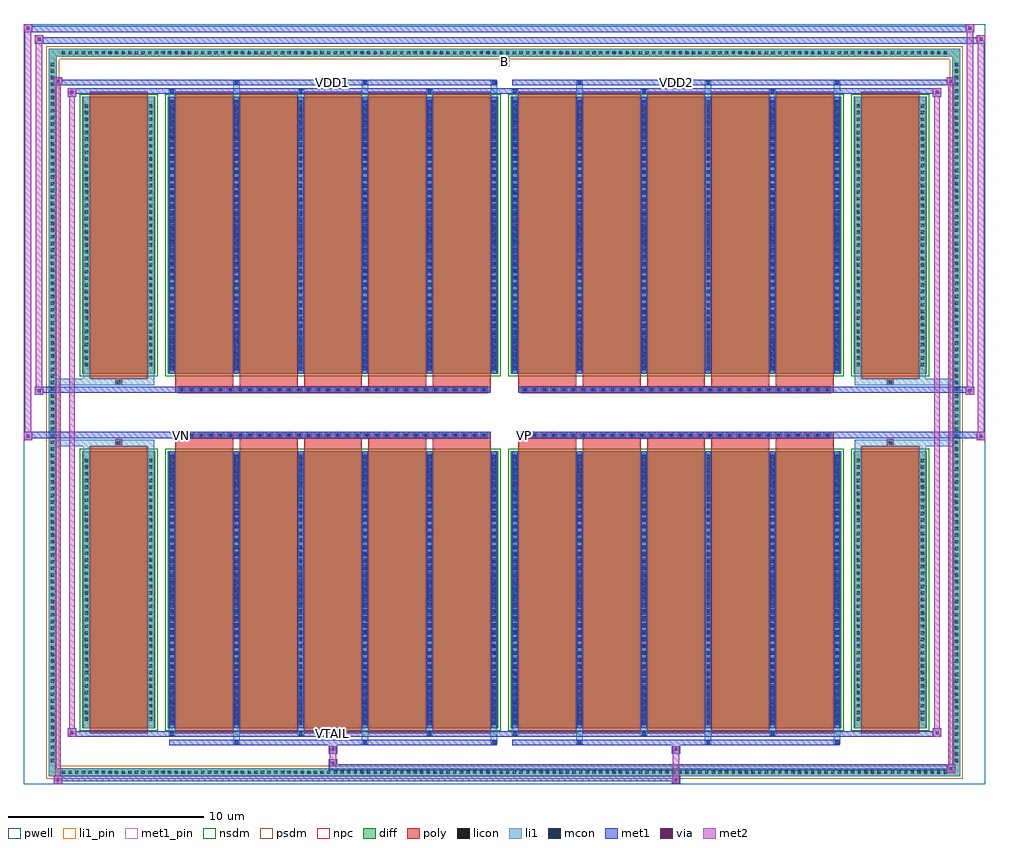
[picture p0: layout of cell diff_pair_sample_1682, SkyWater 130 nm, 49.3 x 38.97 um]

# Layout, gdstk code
import gdstk
lib = gdstk.Library(unit=1e-6, precision=5e-09)
def R(c, l, rs):  # rectangles x0, y0, x1, y1
    for r in rs: c.add(gdstk.rectangle(r[:2], r[2:], *l))
def A(c, l, x, y, w, h, nx, ny, dx, dy):  # array of equal rectangles
    R(c, l, [(x+i*dx, y+j*dy, x+i*dx+w, y+j*dy+h) for i in range(nx) for j in range(ny)])
def P(c, l, *ps):  # polygons
    for p in ps: c.add(gdstk.Polygon(p, *l))
pwell = (64, 44)
diff = (65, 20)
poly = (66, 20)
licon = (66, 44)
li1_pin = (67, 16)
li1 = (67, 20)
mcon = (67, 44)
met1_pin = (68, 16)
met1 = (68, 20)
via = (68, 44)
met2 = (69, 20)
nsdm = (93, 44)
psdm = (94, 20)
npc = (95, 20)

diff_pair_sample_1682 = lib.new_cell('diff_pair_sample_1682')
R(diff_pair_sample_1682, pwell, [(-24.65,-19.05,24.65,19.92), (-21.97,-17.24,-0.01,-0.8), (0.01,-17.24,21.97,-0.8), (-21.97,0.8,-0.01,17.24), (0.01,0.8,21.97,17.24)])
A(diff_pair_sample_1682, diff, -22.815, -18.65, 0.41, 0.41, 134, 2, 0.34, 36.89)
A(diff_pair_sample_1682, diff, -23.38, -18.055, 0.41, 0.41, 1, 106, 0, 0.34)
A(diff_pair_sample_1682, diff, 22.97, -18.055, 0.41, 0.41, 1, 106, 0, 0.34)
R(diff_pair_sample_1682, diff, [(-22.815,-18.65,22.815,-18.24), (-23.38,-18.055,-22.97,18.055), (22.97,-18.055,23.38,18.055), (-21.66,-16.195,-17.91,-1.985), (-17.27,-16.195,-0.32,-1.985), (0.32,-16.195,17.27,-1.985), (17.91,-16.195,21.66,-1.985), (-21.66,1.985,-17.91,16.195), (-17.27,1.985,-0.32,16.195), (0.32,1.985,17.27,16.195), (17.91,1.985,21.66,16.195), (-22.815,18.24,22.815,18.65)])
P(diff_pair_sample_1682, diff, [(23.38,18.65),(-23.38,18.65),(-23.38,-18.24),(-22.97,-18.24),(-22.97,18.24),(22.97,18.24),(22.97,-18.24),(-22.97,-18.24),(-23.38,-18.24),(-23.38,-18.65),(23.38,-18.65)])
A(diff_pair_sample_1682, poly, -16.88, -16.445, 2.97, 14.71, 5, 2, 3.3, 18.18)
A(diff_pair_sample_1682, poly, 0.71, -16.445, 2.97, 14.71, 5, 2, 3.3, 18.18)
A(diff_pair_sample_1682, poly, -16.88, -1.735, 2.97, 0.405, 5, 2, 3.3, 3.065)
A(diff_pair_sample_1682, poly, 0.71, -1.735, 2.97, 0.405, 5, 2, 3.3, 3.065)
A(diff_pair_sample_1682, poly, -16.71, -1.33, 0.33, 0.33, 32, 2, 0.5, 2.33)
A(diff_pair_sample_1682, poly, 0.88, -1.33, 0.33, 0.33, 32, 2, 0.5, 2.33)
R(diff_pair_sample_1682, poly, [(-21.27,-16.445,-18.3,-1.735), (18.3,-16.445,21.27,-1.735), (-19.95,-1.735,-19.62,-1.405), (-19.95,-1.735,-19.62,-1.405), (19.62,-1.735,19.95,-1.405), (19.62,-1.735,19.95,-1.405), (-16.88,-1.33,-0.71,-1), (0.71,-1.33,16.88,-1), (-16.88,1,-0.71,1.33), (0.71,1,16.88,1.33), (-19.95,1.405,-19.62,1.735), (-19.95,1.405,-19.62,1.735), (19.62,1.405,19.95,1.735), (19.62,1.405,19.95,1.735), (-21.27,1.735,-18.3,16.445), (18.3,1.735,21.27,16.445)])
A(diff_pair_sample_1682, licon, -22.695, -18.53, 0.17, 0.17, 134, 2, 0.34, 36.89)
A(diff_pair_sample_1682, licon, -23.26, -17.935, 0.17, 0.17, 1, 106, 0, 0.34)
A(diff_pair_sample_1682, licon, 23.09, -17.935, 0.17, 0.17, 1, 106, 0, 0.34)
A(diff_pair_sample_1682, licon, -21.52, -15.805, 0.17, 0.17, 1, 40, 0, 0.34)
A(diff_pair_sample_1682, licon, -18.22, -15.805, 0.17, 0.17, 1, 40, 0, 0.34)
A(diff_pair_sample_1682, licon, -17.13, -15.805, 0.17, 0.17, 6, 40, 3.3, 0.34)
A(diff_pair_sample_1682, licon, 0.46, -15.805, 0.17, 0.17, 6, 40, 3.3, 0.34)
A(diff_pair_sample_1682, licon, 18.05, -15.805, 0.17, 0.17, 1, 40, 0, 0.34)
A(diff_pair_sample_1682, licon, 21.35, -15.805, 0.17, 0.17, 1, 40, 0, 0.34)
A(diff_pair_sample_1682, licon, -16.63, -1.25, 0.17, 0.17, 32, 2, 0.5, 2.33)
A(diff_pair_sample_1682, licon, 0.96, -1.25, 0.17, 0.17, 32, 2, 0.5, 2.33)
A(diff_pair_sample_1682, licon, -21.52, 2.375, 0.17, 0.17, 1, 40, 0, 0.34)
A(diff_pair_sample_1682, licon, -18.22, 2.375, 0.17, 0.17, 1, 40, 0, 0.34)
A(diff_pair_sample_1682, licon, -17.13, 2.375, 0.17, 0.17, 6, 40, 3.3, 0.34)
A(diff_pair_sample_1682, licon, 0.46, 2.375, 0.17, 0.17, 6, 40, 3.3, 0.34)
A(diff_pair_sample_1682, licon, 18.05, 2.375, 0.17, 0.17, 1, 40, 0, 0.34)
A(diff_pair_sample_1682, licon, 21.35, 2.375, 0.17, 0.17, 1, 40, 0, 0.34)
R(diff_pair_sample_1682, licon, [(-19.87,-1.655,-19.7,-1.485), (19.7,-1.655,19.87,-1.485), (-19.87,1.485,-19.7,1.655), (19.7,1.485,19.87,1.655)])
R(diff_pair_sample_1682, li1_pin, [(-0.25,17.74,0.25,18.24)])
A(diff_pair_sample_1682, li1, -22.775, -18.61, 0.33, 0.33, 134, 2, 0.34, 36.89)
A(diff_pair_sample_1682, li1, -23.34, -18.015, 0.33, 0.33, 1, 106, 0, 0.34)
A(diff_pair_sample_1682, li1, 23.01, -18.015, 0.33, 0.33, 1, 106, 0, 0.34)
A(diff_pair_sample_1682, li1, -13.91, -17, 0.33, 0.805, 3, 2, 6.6, 33.195)
A(diff_pair_sample_1682, li1, -13.83, -17, 0.17, 0.17, 3, 2, 6.6, 33.83)
A(diff_pair_sample_1682, li1, 3.68, -17, 0.33, 0.805, 3, 2, 6.6, 33.195)
A(diff_pair_sample_1682, li1, 3.76, -17, 0.17, 0.17, 3, 2, 6.6, 33.83)
A(diff_pair_sample_1682, li1, -17.21, -16.57, 0.33, 0.375, 3, 2, 6.6, 32.765)
A(diff_pair_sample_1682, li1, -17.13, -16.57, 0.17, 0.17, 3, 2, 6.6, 32.97)
A(diff_pair_sample_1682, li1, 0.38, -16.57, 0.33, 0.375, 3, 2, 6.6, 32.765)
A(diff_pair_sample_1682, li1, 0.46, -16.57, 0.17, 0.17, 3, 2, 6.6, 32.97)
A(diff_pair_sample_1682, li1, -17.21, -16.195, 0.33, 14.21, 6, 2, 3.3, 18.18)
A(diff_pair_sample_1682, li1, 0.38, -16.195, 0.33, 14.21, 6, 2, 3.3, 18.18)
A(diff_pair_sample_1682, li1, -17.13, -16.015, 0.17, 0.17, 6, 39, 3.3, 0.36)
A(diff_pair_sample_1682, li1, -17.13, -16.015, 0.17, 13.85, 6, 2, 3.3, 18.18)
A(diff_pair_sample_1682, li1, 0.46, -16.015, 0.17, 0.17, 6, 39, 3.3, 0.36)
A(diff_pair_sample_1682, li1, 0.46, -16.015, 0.17, 13.85, 6, 2, 3.3, 18.18)
A(diff_pair_sample_1682, li1, -21.6, -15.885, 0.33, 0.33, 1, 40, 0, 0.34)
A(diff_pair_sample_1682, li1, -18.3, -15.885, 0.33, 0.33, 1, 40, 0, 0.34)
A(diff_pair_sample_1682, li1, -17.21, -15.885, 0.33, 0.33, 6, 40, 3.3, 0.34)
A(diff_pair_sample_1682, li1, 0.38, -15.885, 0.33, 0.33, 6, 40, 3.3, 0.34)
A(diff_pair_sample_1682, li1, 17.97, -15.885, 0.33, 0.33, 1, 40, 0, 0.34)
A(diff_pair_sample_1682, li1, 21.27, -15.885, 0.33, 0.33, 1, 40, 0, 0.34)
A(diff_pair_sample_1682, li1, -16.71, -1.33, 0.33, 0.33, 32, 2, 0.5, 2.33)
A(diff_pair_sample_1682, li1, 0.88, -1.33, 0.33, 0.33, 32, 2, 0.5, 2.33)
A(diff_pair_sample_1682, li1, -17.13, 2.165, 0.17, 0.17, 6, 39, 3.3, 0.36)
A(diff_pair_sample_1682, li1, 0.46, 2.165, 0.17, 0.17, 6, 39, 3.3, 0.36)
A(diff_pair_sample_1682, li1, -21.6, 2.295, 0.33, 0.33, 1, 40, 0, 0.34)
A(diff_pair_sample_1682, li1, -18.3, 2.295, 0.33, 0.33, 1, 40, 0, 0.34)
A(diff_pair_sample_1682, li1, -17.21, 2.295, 0.33, 0.33, 6, 40, 3.3, 0.34)
A(diff_pair_sample_1682, li1, 0.38, 2.295, 0.33, 0.33, 6, 40, 3.3, 0.34)
A(diff_pair_sample_1682, li1, 17.97, 2.295, 0.33, 0.33, 1, 40, 0, 0.34)
A(diff_pair_sample_1682, li1, 21.27, 2.295, 0.33, 0.33, 1, 40, 0, 0.34)
R(diff_pair_sample_1682, li1, [(-23.38,-18.65,-22.97,-18.24), (-23.38,-18.65,-22.97,-18.24), (-22.97,-18.65,22.97,-18.24), (22.97,-18.65,23.38,-18.24), (22.97,-18.65,23.38,-18.24), (-23.38,-18.24,-22.97,18.24), (22.97,-18.24,23.38,18.24), (-21.6,-16.195,-21.27,-1.985), (-18.3,-16.195,-17.97,-1.985), (17.97,-16.195,18.3,-1.985), (21.27,-16.195,21.6,-1.985), (-21.6,-1.985,-21.27,-1.405), (-18.3,-1.985,-17.97,-1.405), (17.97,-1.985,18.3,-1.405), (21.27,-1.985,21.6,-1.405), (-23.38,-1.735,-19.95,-1.405), (-21.6,-1.735,-19.95,-1.405), (-19.95,-1.735,-19.62,-1.405), (-19.62,-1.735,-17.97,-1.405), (17.97,-1.735,19.62,-1.405), (19.62,-1.735,19.95,-1.405), (19.62,-1.735,23.38,-1.405), (19.95,-1.735,21.6,-1.405), (-23.38,1.405,-19.95,1.735), (-21.6,1.405,-19.95,1.735), (-21.6,1.405,-21.27,1.985), (-19.95,1.405,-19.62,1.735), (-19.62,1.405,-17.97,1.735), (-18.3,1.405,-17.97,1.985), (17.97,1.405,19.62,1.735), (17.97,1.405,18.3,1.985), (19.62,1.405,19.95,1.735), (19.62,1.405,23.38,1.735), (19.95,1.405,21.6,1.735), (21.27,1.405,21.6,1.985), (-21.6,1.985,-21.27,16.195), (-18.3,1.985,-17.97,16.195), (17.97,1.985,18.3,16.195), (21.27,1.985,21.6,16.195), (-23.38,18.24,-22.97,18.65), (-23.38,18.24,-22.97,18.65), (-22.97,18.24,22.97,18.65), (22.97,18.24,23.38,18.65), (22.97,18.24,23.38,18.65)])
A(diff_pair_sample_1682, mcon, -13.83, -17, 0.17, 0.17, 3, 2, 6.6, 33.83)
A(diff_pair_sample_1682, mcon, 3.76, -17, 0.17, 0.17, 3, 2, 6.6, 33.83)
A(diff_pair_sample_1682, mcon, -17.13, -16.57, 0.17, 0.17, 3, 2, 6.6, 32.97)
A(diff_pair_sample_1682, mcon, 0.46, -16.57, 0.17, 0.17, 3, 2, 6.6, 32.97)
A(diff_pair_sample_1682, mcon, -17.13, -16.015, 0.17, 0.17, 6, 39, 3.3, 0.36)
A(diff_pair_sample_1682, mcon, 0.46, -16.015, 0.17, 0.17, 6, 39, 3.3, 0.36)
A(diff_pair_sample_1682, mcon, -16.63, -1.25, 0.17, 0.17, 32, 2, 0.5, 2.33)
A(diff_pair_sample_1682, mcon, 0.96, -1.25, 0.17, 0.17, 32, 2, 0.5, 2.33)
A(diff_pair_sample_1682, mcon, -17.13, 2.165, 0.17, 0.17, 6, 39, 3.3, 0.36)
A(diff_pair_sample_1682, mcon, 0.46, 2.165, 0.17, 0.17, 6, 39, 3.3, 0.36)
R(diff_pair_sample_1682, met1_pin, [(-8.93,-16.61,-8.66,-16.34), (-16.68,-1.29,-16.41,-1.02), (0.91,-1.29,1.18,-1.02), (-8.93,16.79,-8.66,17.06), (8.66,16.79,8.93,17.06)])
A(diff_pair_sample_1682, met1, -13.89, -17.06, 0.29, 0.29, 3, 2, 6.6, 33.83)
A(diff_pair_sample_1682, met1, 3.7, -17.06, 0.29, 0.29, 3, 2, 6.6, 33.83)
A(diff_pair_sample_1682, met1, -17.19, -16.63, 0.29, 0.29, 3, 2, 6.6, 32.97)
A(diff_pair_sample_1682, met1, 0.4, -16.63, 0.29, 0.29, 3, 2, 6.6, 32.97)
A(diff_pair_sample_1682, met1, -17.19, -16.195, 0.29, 14.21, 6, 2, 3.3, 18.18)
A(diff_pair_sample_1682, met1, 0.4, -16.195, 0.29, 14.21, 6, 2, 3.3, 18.18)
A(diff_pair_sample_1682, met1, -17.19, -16.075, 0.29, 0.29, 6, 39, 3.3, 0.36)
A(diff_pair_sample_1682, met1, 0.4, -16.075, 0.29, 0.29, 6, 39, 3.3, 0.36)
A(diff_pair_sample_1682, met1, -16.69, -1.31, 0.29, 0.29, 32, 2, 0.5, 2.33)
A(diff_pair_sample_1682, met1, 0.9, -1.31, 0.29, 0.29, 32, 2, 0.5, 2.33)
A(diff_pair_sample_1682, met1, -17.19, 2.105, 0.29, 0.29, 6, 39, 3.3, 0.36)
A(diff_pair_sample_1682, met1, 0.4, 2.105, 0.29, 0.29, 6, 39, 3.3, 0.36)
R(diff_pair_sample_1682, met1, [(-23.11,-19.05,-22.68,-18.62), (8.58,-19.05,9.01,-18.62), (-23.11,-18.91,9.01,-18.62), (22.68,-18.48,23.11,-18.05), (-9.01,-18.34,23.11,-18.05), (-9.01,-18.2,-8.58,-17.77), (-9.01,-17.49,-8.58,-17.06), (8.58,-17.49,9.01,-17.06), (-17.19,-17.06,-0.4,-16.77), (0.4,-17.06,17.19,-16.77), (-22.4,-16.63,-21.97,-16.2), (-22.4,-16.63,-17.19,-16.34), (-17.19,-16.63,-0.4,-16.34), (-0.4,-16.63,0.4,-16.34), (0.4,-16.63,17.19,-16.34), (17.19,-16.63,22.4,-16.34), (21.97,-16.63,22.4,-16.2), (-24.65,-1.43,-24.22,-1), (24.22,-1.43,24.65,-1), (-24.65,-1.33,-0.71,-1), (-16.88,-1.33,-0.71,-1), (0.71,-1.33,16.88,-1), (0.71,-1.33,24.65,-1), (-24.08,0.9,-23.65,1.33), (23.65,0.9,24.08,1.33), (-24.08,1,-16.88,1.33), (-16.88,1,-0.71,1.33), (0.71,1,16.88,1.33), (16.88,1,24.08,1.33), (-22.4,16.2,-21.97,16.63), (21.97,16.2,22.4,16.63), (-22.4,16.34,-17.19,16.63), (-17.19,16.34,-0.4,16.63), (-0.4,16.34,0.4,16.63), (0.4,16.34,17.19,16.63), (17.19,16.34,22.4,16.63), (-23.11,16.77,-22.68,17.2), (-23.11,16.77,-17.19,17.06), (-17.19,16.77,-0.4,17.06), (0.4,16.77,17.19,17.06), (17.19,16.77,23.11,17.06), (22.68,16.77,23.11,17.2), (-24.08,18.92,-23.65,19.35), (-24.08,18.92,-21.97,19.25), (-21.97,18.92,21.97,19.25), (21.97,18.92,24.65,19.25), (24.22,18.92,24.65,19.35), (-24.65,19.49,-24.22,19.92), (-24.65,19.49,-21.97,19.82), (-21.97,19.49,21.97,19.82), (21.97,19.49,24.08,19.82), (23.65,19.49,24.08,19.92)])
R(diff_pair_sample_1682, via, [(-22.97,-18.91,-22.82,-18.76), (8.72,-18.91,8.87,-18.76), (22.82,-18.34,22.97,-18.19), (-8.87,-18.06,-8.72,-17.91), (-8.87,-17.35,-8.72,-17.2), (8.72,-17.35,8.87,-17.2), (-22.26,-16.49,-22.11,-16.34), (22.11,-16.49,22.26,-16.34), (-24.51,-1.29,-24.36,-1.14), (24.36,-1.29,24.51,-1.14), (-23.94,1.04,-23.79,1.19), (23.79,1.04,23.94,1.19), (-22.26,16.34,-22.11,16.49), (22.11,16.34,22.26,16.49), (-22.97,16.91,-22.82,17.06), (22.82,16.91,22.97,17.06), (-23.94,19.06,-23.79,19.21), (24.36,19.06,24.51,19.21), (-24.51,19.63,-24.36,19.78), (23.79,19.63,23.94,19.78)])
R(diff_pair_sample_1682, met2, [(-23.11,-19.05,-22.68,-18.62), (-23.04,-19.05,-22.75,17.2), (-22.75,-19.05,-22.68,-18.62), (-23.06,-19,-22.73,-18.67), (8.63,-19,8.96,-18.67), (8.63,-18.67,8.96,-17.44), (22.68,-18.48,23.11,-18.05), (22.75,-18.48,23.04,17.2), (23.04,-18.48,23.11,-18.05), (22.73,-18.43,23.06,-18.1), (-8.96,-18.15,-8.63,-17.82), (-8.96,-17.82,-8.63,-17.44), (-8.96,-17.44,-8.63,-17.11), (8.63,-17.44,8.96,-17.11), (-22.4,-16.63,-21.97,-16.2), (-22.33,-16.63,-22.04,16.63), (-22.04,-16.63,-21.97,-16.2), (21.97,-16.63,22.4,-16.2), (22.04,-16.63,22.33,16.63), (22.33,-16.63,22.4,-16.2), (-22.35,-16.58,-22.02,-16.25), (22.02,-16.58,22.35,-16.25), (-24.65,-1.43,-24.22,-1), (-24.6,-1.43,-24.27,19.92), (-24.27,-1.43,-24.22,-1), (24.22,-1.43,24.65,-1), (24.27,-1.43,24.6,19.35), (24.6,-1.43,24.65,-1), (-24.6,-1.38,-24.27,-1.05), (24.27,-1.38,24.6,-1.05), (-24.08,0.9,-23.65,1.33), (-24.03,0.9,-23.7,19.35), (-23.7,0.9,-23.65,1.33), (23.65,0.9,24.08,1.33), (23.7,0.9,24.03,19.92), (24.03,0.9,24.08,1.33), (-24.03,0.95,-23.7,1.28), (23.7,0.95,24.03,1.28), (-22.4,16.2,-21.97,16.63), (-22.04,16.2,-21.97,16.63), (21.97,16.2,22.4,16.63), (22.33,16.2,22.4,16.63), (-22.35,16.25,-22.02,16.58), (22.02,16.25,22.35,16.58), (-23.11,16.77,-22.68,17.2), (-22.75,16.77,-22.68,17.2), (22.68,16.77,23.11,17.2), (23.04,16.77,23.11,17.2), (-23.06,16.82,-22.73,17.15), (22.73,16.82,23.06,17.15), (-24.08,18.92,-23.65,19.35), (-23.7,18.92,-23.65,19.35), (24.22,18.92,24.65,19.35), (24.6,18.92,24.65,19.35), (-24.03,18.97,-23.7,19.3), (24.27,18.97,24.6,19.3), (-24.65,19.49,-24.22,19.92), (-24.27,19.49,-24.22,19.92), (23.65,19.49,24.08,19.92), (24.03,19.49,24.08,19.92), (-24.6,19.54,-24.27,19.87), (23.7,19.54,24.03,19.87)])
R(diff_pair_sample_1682, nsdm, [(-21.79,-16.325,-17.78,-1.855), (-17.4,-16.325,-0.19,-1.855), (0.19,-16.325,17.4,-1.855), (17.78,-16.325,21.79,-1.855), (-21.79,1.855,-17.78,16.325), (-17.4,1.855,-0.19,16.325), (0.19,1.855,17.4,16.325), (17.78,1.855,21.79,16.325)])
P(diff_pair_sample_1682, psdm, [(23.51,18.78),(-23.51,18.78),(-23.51,-18.11),(-22.84,-18.11),(-22.84,18.11),(22.84,18.11),(22.84,-18.11),(-22.84,-18.11),(-23.51,-18.11),(-23.51,-18.78),(23.51,-18.78)])
A(diff_pair_sample_1682, npc, -16.73, -1.35, 0.37, 0.37, 32, 2, 0.5, 2.33)
A(diff_pair_sample_1682, npc, 0.86, -1.35, 0.37, 0.37, 32, 2, 0.5, 2.33)
R(diff_pair_sample_1682, npc, [(-19.97,-1.755,-19.6,-1.385), (19.6,-1.755,19.97,-1.385), (-16.73,-1.35,-15.86,-0.98), (-16.73,-1.35,-15.86,-0.98), (-16.23,-1.35,-15.36,-0.98), (-16.23,-1.35,-15.36,-0.98), (-15.73,-1.35,-14.86,-0.98), (-15.73,-1.35,-14.86,-0.98), (-15.23,-1.35,-14.36,-0.98), (-15.23,-1.35,-14.36,-0.98), (-14.73,-1.35,-13.86,-0.98), (-14.73,-1.35,-13.86,-0.98), (-14.23,-1.35,-13.36,-0.98), (-14.23,-1.35,-13.36,-0.98), (-13.73,-1.35,-12.86,-0.98), (-13.73,-1.35,-12.86,-0.98), (-13.23,-1.35,-12.36,-0.98), (-13.23,-1.35,-12.36,-0.98), (-12.73,-1.35,-11.86,-0.98), (-12.73,-1.35,-11.86,-0.98), (-12.23,-1.35,-11.36,-0.98), (-12.23,-1.35,-11.36,-0.98), (-11.73,-1.35,-10.86,-0.98), (-11.73,-1.35,-10.86,-0.98), (-11.23,-1.35,-10.36,-0.98), (-11.23,-1.35,-10.36,-0.98), (-10.73,-1.35,-9.86,-0.98), (-10.73,-1.35,-9.86,-0.98), (-10.23,-1.35,-9.36,-0.98), (-10.23,-1.35,-9.36,-0.98), (-9.73,-1.35,-8.86,-0.98), (-9.73,-1.35,-8.86,-0.98), (-9.23,-1.35,-8.36,-0.98), (-9.23,-1.35,-8.36,-0.98), (-8.73,-1.35,-7.86,-0.98), (-8.73,-1.35,-7.86,-0.98), (-8.23,-1.35,-7.36,-0.98), (-8.23,-1.35,-7.36,-0.98), (-7.73,-1.35,-6.86,-0.98), (-7.73,-1.35,-6.86,-0.98), (-7.23,-1.35,-6.36,-0.98), (-7.23,-1.35,-6.36,-0.98), (-6.73,-1.35,-5.86,-0.98), (-6.73,-1.35,-5.86,-0.98), (-6.23,-1.35,-5.36,-0.98), (-6.23,-1.35,-5.36,-0.98), (-5.73,-1.35,-4.86,-0.98), (-5.73,-1.35,-4.86,-0.98), (-5.23,-1.35,-4.36,-0.98), (-5.23,-1.35,-4.36,-0.98), (-4.73,-1.35,-3.86,-0.98), (-4.73,-1.35,-3.86,-0.98), (-4.23,-1.35,-3.36,-0.98), (-4.23,-1.35,-3.36,-0.98), (-3.73,-1.35,-2.86,-0.98), (-3.73,-1.35,-2.86,-0.98), (-3.23,-1.35,-2.36,-0.98), (-3.23,-1.35,-2.36,-0.98), (-2.73,-1.35,-1.86,-0.98), (-2.73,-1.35,-1.86,-0.98), (-2.23,-1.35,-1.36,-0.98), (-2.23,-1.35,-1.36,-0.98), (-1.73,-1.35,-0.86,-0.98), (-1.73,-1.35,-0.86,-0.98), (0.86,-1.35,1.73,-0.98), (0.86,-1.35,1.73,-0.98), (1.36,-1.35,2.23,-0.98), (1.36,-1.35,2.23,-0.98), (1.86,-1.35,2.73,-0.98), (1.86,-1.35,2.73,-0.98), (2.36,-1.35,3.23,-0.98), (2.36,-1.35,3.23,-0.98), (2.86,-1.35,3.73,-0.98), (2.86,-1.35,3.73,-0.98), (3.36,-1.35,4.23,-0.98), (3.36,-1.35,4.23,-0.98), (3.86,-1.35,4.73,-0.98), (3.86,-1.35,4.73,-0.98), (4.36,-1.35,5.23,-0.98), (4.36,-1.35,5.23,-0.98), (4.86,-1.35,5.73,-0.98), (4.86,-1.35,5.73,-0.98), (5.36,-1.35,6.23,-0.98), (5.36,-1.35,6.23,-0.98), (5.86,-1.35,6.73,-0.98), (5.86,-1.35,6.73,-0.98), (6.36,-1.35,7.23,-0.98), (6.36,-1.35,7.23,-0.98), (6.86,-1.35,7.73,-0.98), (6.86,-1.35,7.73,-0.98), (7.36,-1.35,8.23,-0.98), (7.36,-1.35,8.23,-0.98), (7.86,-1.35,8.73,-0.98), (7.86,-1.35,8.73,-0.98), (8.36,-1.35,9.23,-0.98), (8.36,-1.35,9.23,-0.98), (8.86,-1.35,9.73,-0.98), (8.86,-1.35,9.73,-0.98), (9.36,-1.35,10.23,-0.98), (9.36,-1.35,10.23,-0.98), (9.86,-1.35,10.73,-0.98), (9.86,-1.35,10.73,-0.98), (10.36,-1.35,11.23,-0.98), (10.36,-1.35,11.23,-0.98), (10.86,-1.35,11.73,-0.98), (10.86,-1.35,11.73,-0.98), (11.36,-1.35,12.23,-0.98), (11.36,-1.35,12.23,-0.98), (11.86,-1.35,12.73,-0.98), (11.86,-1.35,12.73,-0.98), (12.36,-1.35,13.23,-0.98), (12.36,-1.35,13.23,-0.98), (12.86,-1.35,13.73,-0.98), (12.86,-1.35,13.73,-0.98), (13.36,-1.35,14.23,-0.98), (13.36,-1.35,14.23,-0.98), (13.86,-1.35,14.73,-0.98), (13.86,-1.35,14.73,-0.98), (14.36,-1.35,15.23,-0.98), (14.36,-1.35,15.23,-0.98), (14.86,-1.35,15.73,-0.98), (14.86,-1.35,15.73,-0.98), (15.36,-1.35,16.23,-0.98), (15.36,-1.35,16.23,-0.98), (15.86,-1.35,16.73,-0.98), (15.86,-1.35,16.73,-0.98), (-16.73,0.98,-15.86,1.35), (-16.73,0.98,-15.86,1.35), (-16.23,0.98,-15.36,1.35), (-16.23,0.98,-15.36,1.35), (-15.73,0.98,-14.86,1.35), (-15.73,0.98,-14.86,1.35), (-15.23,0.98,-14.36,1.35), (-15.23,0.98,-14.36,1.35), (-14.73,0.98,-13.86,1.35), (-14.73,0.98,-13.86,1.35), (-14.23,0.98,-13.36,1.35), (-14.23,0.98,-13.36,1.35), (-13.73,0.98,-12.86,1.35), (-13.73,0.98,-12.86,1.35), (-13.23,0.98,-12.36,1.35), (-13.23,0.98,-12.36,1.35), (-12.73,0.98,-11.86,1.35), (-12.73,0.98,-11.86,1.35), (-12.23,0.98,-11.36,1.35), (-12.23,0.98,-11.36,1.35), (-11.73,0.98,-10.86,1.35), (-11.73,0.98,-10.86,1.35), (-11.23,0.98,-10.36,1.35), (-11.23,0.98,-10.36,1.35), (-10.73,0.98,-9.86,1.35), (-10.73,0.98,-9.86,1.35), (-10.23,0.98,-9.36,1.35), (-10.23,0.98,-9.36,1.35), (-9.73,0.98,-8.86,1.35), (-9.73,0.98,-8.86,1.35), (-9.23,0.98,-8.36,1.35), (-9.23,0.98,-8.36,1.35), (-8.73,0.98,-7.86,1.35), (-8.73,0.98,-7.86,1.35), (-8.23,0.98,-7.36,1.35), (-8.23,0.98,-7.36,1.35), (-7.73,0.98,-6.86,1.35), (-7.73,0.98,-6.86,1.35), (-7.23,0.98,-6.36,1.35), (-7.23,0.98,-6.36,1.35), (-6.73,0.98,-5.86,1.35), (-6.73,0.98,-5.86,1.35), (-6.23,0.98,-5.36,1.35), (-6.23,0.98,-5.36,1.35), (-5.73,0.98,-4.86,1.35), (-5.73,0.98,-4.86,1.35), (-5.23,0.98,-4.36,1.35), (-5.23,0.98,-4.36,1.35), (-4.73,0.98,-3.86,1.35), (-4.73,0.98,-3.86,1.35), (-4.23,0.98,-3.36,1.35), (-4.23,0.98,-3.36,1.35), (-3.73,0.98,-2.86,1.35), (-3.73,0.98,-2.86,1.35), (-3.23,0.98,-2.36,1.35), (-3.23,0.98,-2.36,1.35), (-2.73,0.98,-1.86,1.35), (-2.73,0.98,-1.86,1.35), (-2.23,0.98,-1.36,1.35), (-2.23,0.98,-1.36,1.35), (-1.73,0.98,-0.86,1.35), (-1.73,0.98,-0.86,1.35), (0.86,0.98,1.73,1.35), (0.86,0.98,1.73,1.35), (1.36,0.98,2.23,1.35), (1.36,0.98,2.23,1.35), (1.86,0.98,2.73,1.35), (1.86,0.98,2.73,1.35), (2.36,0.98,3.23,1.35), (2.36,0.98,3.23,1.35), (2.86,0.98,3.73,1.35), (2.86,0.98,3.73,1.35), (3.36,0.98,4.23,1.35), (3.36,0.98,4.23,1.35), (3.86,0.98,4.73,1.35), (3.86,0.98,4.73,1.35), (4.36,0.98,5.23,1.35), (4.36,0.98,5.23,1.35), (4.86,0.98,5.73,1.35), (4.86,0.98,5.73,1.35), (5.36,0.98,6.23,1.35), (5.36,0.98,6.23,1.35), (5.86,0.98,6.73,1.35), (5.86,0.98,6.73,1.35), (6.36,0.98,7.23,1.35), (6.36,0.98,7.23,1.35), (6.86,0.98,7.73,1.35), (6.86,0.98,7.73,1.35), (7.36,0.98,8.23,1.35), (7.36,0.98,8.23,1.35), (7.86,0.98,8.73,1.35), (7.86,0.98,8.73,1.35), (8.36,0.98,9.23,1.35), (8.36,0.98,9.23,1.35), (8.86,0.98,9.73,1.35), (8.86,0.98,9.73,1.35), (9.36,0.98,10.23,1.35), (9.36,0.98,10.23,1.35), (9.86,0.98,10.73,1.35), (9.86,0.98,10.73,1.35), (10.36,0.98,11.23,1.35), (10.36,0.98,11.23,1.35), (10.86,0.98,11.73,1.35), (10.86,0.98,11.73,1.35), (11.36,0.98,12.23,1.35), (11.36,0.98,12.23,1.35), (11.86,0.98,12.73,1.35), (11.86,0.98,12.73,1.35), (12.36,0.98,13.23,1.35), (12.36,0.98,13.23,1.35), (12.86,0.98,13.73,1.35), (12.86,0.98,13.73,1.35), (13.36,0.98,14.23,1.35), (13.36,0.98,14.23,1.35), (13.86,0.98,14.73,1.35), (13.86,0.98,14.73,1.35), (14.36,0.98,15.23,1.35), (14.36,0.98,15.23,1.35), (14.86,0.98,15.73,1.35), (14.86,0.98,15.73,1.35), (15.36,0.98,16.23,1.35), (15.36,0.98,16.23,1.35), (15.86,0.98,16.73,1.35), (15.86,0.98,16.73,1.35), (-19.97,1.385,-19.6,1.755), (19.6,1.385,19.97,1.755)])
diff_pair_sample_1682.add(gdstk.Label('VTAIL', (-8.795,-16.475), layer=68, texttype=5))
diff_pair_sample_1682.add(gdstk.Label('VN', (-16.545,-1.155), layer=68, texttype=5))
diff_pair_sample_1682.add(gdstk.Label('VP', (1.045,-1.155), layer=68, texttype=5))
diff_pair_sample_1682.add(gdstk.Label('B', (0,17.99), layer=67, texttype=5))
diff_pair_sample_1682.add(gdstk.Label('VDD2', (8.795,16.925), layer=68, texttype=5))
diff_pair_sample_1682.add(gdstk.Label('VDD1', (-8.795,16.925), layer=68, texttype=5))

lib.write_gds('diff_pair_sample_1682.gds')
